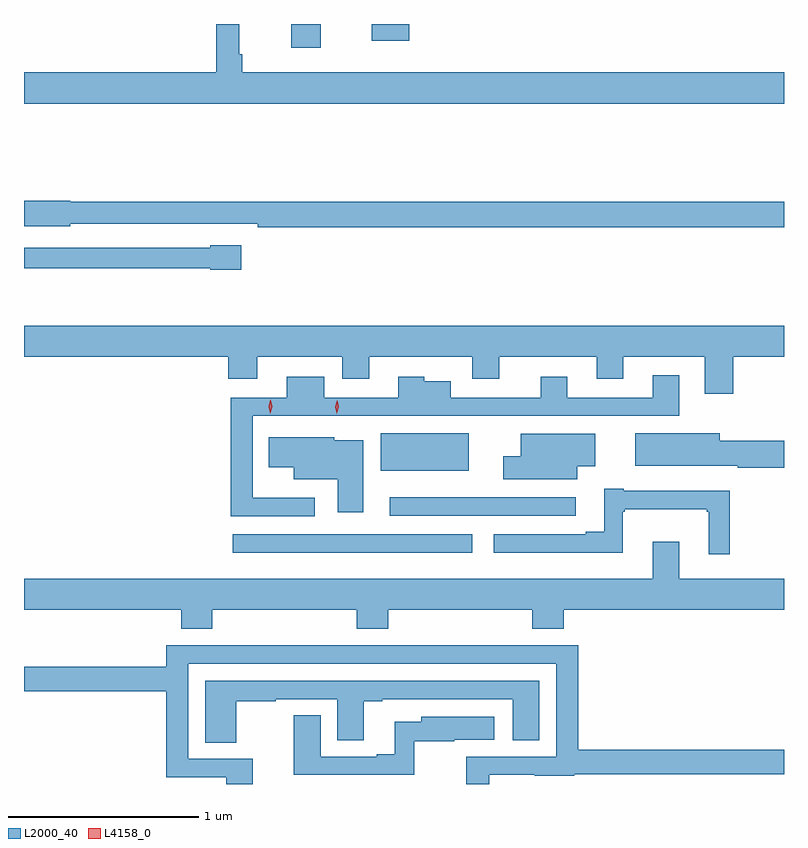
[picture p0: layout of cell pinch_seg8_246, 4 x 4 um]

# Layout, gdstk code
import gdstk
lib = gdstk.Library(unit=1e-6, precision=1e-09)
def R(c, l, rs):  # rectangles x0, y0, x1, y1
    for r in rs: c.add(gdstk.rectangle(r[:2], r[2:], *l))
def P(c, l, *ps):  # polygons
    for p in ps: c.add(gdstk.Polygon(p, *l))
L2000_40 = (2000, 40)
L4158_0 = (4158, 0)

pinch_seg8_246 = lib.new_cell('pinch_seg8_246')
R(pinch_seg8_246, L2000_40, [(833.241,1119.464,834.502,1119.561), (834.02,1119.896,834.484,1120.093), (833.549,1122.123,833.704,1122.247), (833.973,1122.158,834.17,1122.247)])
P(pinch_seg8_246, L2000_40, [(836.143,1121.992),(833.291,1121.992),(833.291,1122.088),(833.276,1122.088),(833.276,1122.247),(833.155,1122.247),(833.155,1121.992),(832.143,1121.992),(832.143,1121.828),(836.143,1121.828)],
  [(836.143,1121.312),(832.386,1121.312),(832.386,1121.318),(832.143,1121.318),(832.143,1121.183),(832.386,1121.183),(832.386,1121.196),(833.374,1121.196),(833.374,1121.176),(836.143,1121.176)],
  [(833.287,1121.083),(833.124,1121.083),(833.124,1121.07),(832.143,1121.07),(832.143,1120.962),(833.124,1120.962),(833.124,1120.954),(833.287,1120.954)],
  [(835.875,1120.496),(836.143,1120.496),(836.143,1120.66),(832.143,1120.66),(832.143,1120.496),(833.219,1120.496),(833.219,1120.379),(833.371,1120.379),(833.371,1120.496),(833.819,1120.496),(833.819,1120.379),(833.959,1120.379),(833.959,1120.496),(834.503,1120.496),(834.503,1120.379),(834.643,1120.379),(834.643,1120.496),(835.157,1120.496),(835.157,1120.379),(835.297,1120.379),(835.297,1120.496),(835.727,1120.496),(835.727,1120.302),(835.875,1120.302)],
  [(833.674,1119.753),(833.348,1119.753),(833.348,1119.754),(833.346,1119.754),(833.346,1120.185),(835.591,1120.185),(835.591,1120.399),(835.451,1120.399),(835.451,1120.281),(835.003,1120.281),(835.003,1120.39),(834.863,1120.39),(834.863,1120.281),(834.388,1120.281),(834.388,1120.366),(834.249,1120.366),(834.249,1120.39),(834.113,1120.39),(834.113,1120.281),(833.722,1120.281),(833.722,1120.39),(833.525,1120.39),(833.525,1120.281),(833.23,1120.281),(833.23,1119.657),(833.674,1119.657)],
  [(836.143,1120.053),(835.804,1120.053),(835.804,1120.093),(835.361,1120.093),(835.361,1119.923),(835.9,1119.923),(835.9,1119.911),(836.143,1119.911)],
  [(835.054,1119.92),(835.15,1119.92),(835.15,1120.09),(834.758,1120.09),(834.758,1119.973),(834.666,1119.973),(834.666,1119.851),(835.054,1119.851)],
  [(833.929,1120.057),(833.775,1120.057),(833.775,1120.072),(833.431,1120.072),(833.431,1119.914),(833.564,1119.914),(833.564,1119.851),(833.795,1119.851),(833.795,1119.678),(833.929,1119.678)],
  [(835.858,1119.79),(835.3,1119.79),(835.3,1119.802),(835.196,1119.802),(835.196,1119.574),(835.1,1119.574),(835.1,1119.561),(834.615,1119.561),(834.615,1119.464),(835.294,1119.464),(835.294,1119.681),(835.306,1119.681),(835.306,1119.692),(835.737,1119.692),(835.737,1119.681),(835.748,1119.681),(835.748,1119.456),(835.858,1119.456)],
  [(835.048,1119.756),(834.48,1119.756),(834.48,1119.757),(834.069,1119.757),(834.069,1119.66),(835.048,1119.66)],
  [(833.135,1119.164),(833.894,1119.164),(833.894,1119.065),(834.059,1119.065),(834.059,1119.164),(834.818,1119.164),(834.818,1119.065),(834.983,1119.065),(834.983,1119.164),(836.143,1119.164),(836.143,1119.328),(835.591,1119.328),(835.591,1119.523),(835.451,1119.523),(835.451,1119.328),(832.143,1119.328),(832.143,1119.164),(832.97,1119.164),(832.97,1119.065),(833.135,1119.065)],
  [(833.347,1118.379),(833.007,1118.379),(833.007,1118.88),(834.945,1118.88),(834.945,1118.391),(834.47,1118.391),(834.47,1118.247),(834.592,1118.247),(834.592,1118.295),(834.83,1118.295),(834.83,1118.29),(835.038,1118.29),(835.038,1118.298),(836.143,1118.298),(836.143,1118.426),(835.061,1118.426),(835.061,1118.976),(834.734,1118.976),(834.734,1118.978),(834.142,1118.978),(834.142,1118.976),(833.81,1118.976),(833.81,1118.978),(833.218,1118.978),(833.218,1118.976),(832.891,1118.976),(832.891,1118.863),(832.143,1118.863),(832.143,1118.734),(832.891,1118.734),(832.891,1118.283),(833.207,1118.283),(833.207,1118.247),(833.347,1118.247)],
  [(833.26,1118.682),(833.468,1118.682),(833.468,1118.694),(833.792,1118.694),(833.792,1118.476),(833.932,1118.476),(833.932,1118.682),(834.028,1118.682),(834.028,1118.694),(834.716,1118.694),(834.716,1118.476),(834.856,1118.476),(834.856,1118.79),(833.096,1118.79),(833.096,1118.464),(833.26,1118.464)],
  [(834.197,1118.473),(834.408,1118.473),(834.408,1118.48),(834.619,1118.48),(834.619,1118.602),(834.234,1118.602),(834.234,1118.574),(834.095,1118.574),(834.095,1118.404),(833.999,1118.404),(833.999,1118.391),(833.704,1118.391),(833.704,1118.609),(833.564,1118.609),(833.564,1118.295),(834.197,1118.295)])
P(pinch_seg8_246, L4158_0, [(833.789,1120.197),(833.789,1120.198),(833.78,1120.233),(833.792,1120.268),(833.792,1120.268),(833.792,1120.268),(833.8,1120.233),(833.789,1120.198)],
  [(833.44,1120.197),(833.44,1120.198),(833.43,1120.233),(833.44,1120.268),(833.441,1120.269),(833.441,1120.268),(833.45,1120.233),(833.44,1120.198)])

lib.write_gds('pinch_seg8_246.gds')
